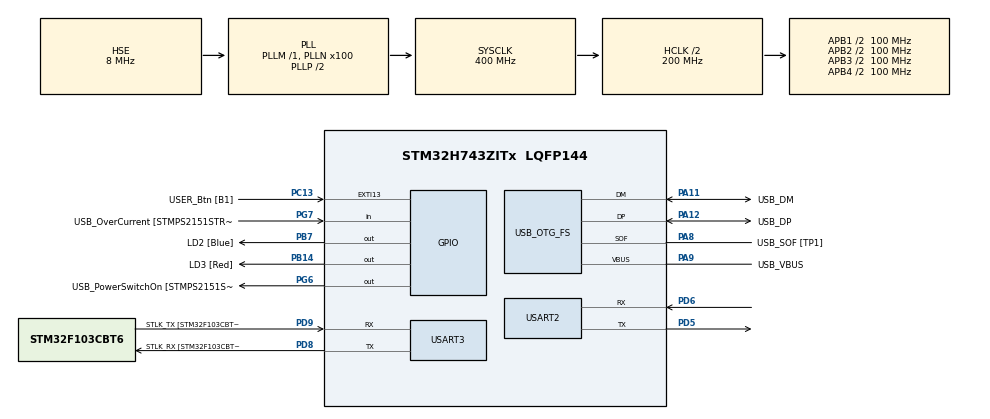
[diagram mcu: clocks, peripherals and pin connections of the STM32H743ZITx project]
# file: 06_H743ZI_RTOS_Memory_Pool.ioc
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FREERTOS.Tasks01=defaultTask,0,128,StartDefaultTask,Default,NULL
Mcu.Family=STM32H7
Mcu.Name=STM32H743ZITx
Mcu.Package=LQFP144
NVIC.OTG_FS_IRQn=true\:5\:0\:false\:false\:true\:true\:false
NVIC.PriorityGroup=NVIC_PRIORITYGROUP_4
NVIC.TIM17_IRQn=true\:0\:0\:false\:false\:true\:false\:false
NVIC.TimeBase=TIM17_IRQn
NVIC.TimeBaseIP=TIM17
NVIC.USART2_IRQn=true\:5\:0\:false\:false\:true\:true\:true
PA11.GPIO_Label=USB_DM
PA11.Mode=Device_Only
PA11.Signal=USB_OTG_FS_DM
PA12.GPIO_Label=USB_DP
PA12.Mode=Device_Only
PA12.Signal=USB_OTG_FS_DP
PA13\ (JTMS/SWDIO).GPIO_Label=TMS
PA13\ (JTMS/SWDIO).Mode=Serial_Wire
PA13\ (JTMS/SWDIO).Signal=SYS_JTMS-SWDIO
PA14\ (JTCK/SWCLK).GPIO_Label=TCK
PA14\ (JTCK/SWCLK).Mode=Serial_Wire
PA14\ (JTCK/SWCLK).Signal=SYS_JTCK-SWCLK
PA8.GPIO_Label=USB_SOF [TP1]
PA8.Mode=Activate_SOF_FS
PA8.Signal=USB_OTG_FS_SOF
PA9.GPIO_Label=USB_VBUS
PA9.Mode=Activate_VBUS
PA9.Signal=USB_OTG_FS_VBUS
PB14.GPIO_Label=LD3 [Red]
PB14.Signal=GPIO_Output
PB3\ (JTDO/TRACESWO).GPIO_Label=SWO
PB3\ (JTDO/TRACESWO).Signal=SYS_JTDO-SWO
PB7.GPIO_Label=LD2 [Blue]
PB7.Signal=GPIO_Output
PC13.GPIO_Label=USER_Btn [B1]
PC13.Signal=GPXTI13
PC14-OSC32_IN\ (OSC32_IN).Mode=LSE-External-Oscillator
PC14-OSC32_IN\ (OSC32_IN).Signal=RCC_OSC32_IN
PC15-OSC32_OUT\ (OSC32_OUT).Mode=LSE-External-Oscillator
PC15-OSC32_OUT\ (OSC32_OUT).Signal=RCC_OSC32_OUT
PD5.Mode=Asynchronous
PD5.Signal=USART2_TX
PD6.Mode=Asynchronous
PD6.Signal=USART2_RX
PD8.GPIO_Label=STLK_RX [STM32F103CBT6_PA3]
PD8.Mode=Asynchronous
PD8.Signal=USART3_TX
PD9.GPIO_Label=STLK_TX [STM32F103CBT6_PA2]
PD9.Mode=Asynchronous
PD9.Signal=USART3_RX
PG6.GPIO_Label=USB_PowerSwitchOn [STMPS2151STR_EN]
PG6.Signal=GPIO_Output
PG7.GPIO_Label=USB_OverCurrent [STMPS2151STR_FAULT]
PG7.Signal=GPIO_Input
PH0-OSC_IN\ (PH0).GPIO_Label=MCO
PH0-OSC_IN\ (PH0).Mode=HSE-External-Clock-Source
PH0-OSC_IN\ (PH0).Signal=RCC_OSC_IN
PH1-OSC_OUT\ (PH1).Mode=HSE-External-Clock-Source
PH1-OSC_OUT\ (PH1).Signal=RCC_OSC_OUT
ProjectManager.HeapSize=0x200
ProjectManager.StackSize=0x400
ProjectManager.TargetToolchain=EWARM V8
RCC.48MHZClocksFreq_Value=24000000
RCC.ADCFreq_Value=16125000
RCC.AHBFreq_Value=216000000
RCC.APB1CLKDivider=RCC_HCLK_DIV4
RCC.APB1Freq_Value=100000000
RCC.APB1TimFreq_Value=108000000
RCC.APB2CLKDivider=RCC_HCLK_DIV2
RCC.APB2Freq_Value=100000000
RCC.APB2TimFreq_Value=216000000
RCC.APB3Freq_Value=100000000
RCC.APB4Freq_Value=100000000
RCC.CortexFreq_Value=400000000
RCC.D1PPRE=RCC_APB3_DIV2
RCC.D2PPRE1=RCC_APB1_DIV2
RCC.D2PPRE2=RCC_APB2_DIV2
RCC.D3PPRE=RCC_APB4_DIV2
RCC.DIVM1=1
RCC.DIVN1=100
RCC.DIVQ1=4
RCC.HCLKFreq_Value=200000000
RCC.HPRE=RCC_HCLK_DIV2
RCC.HSE_VALUE=8000000
RCC.HSI_VALUE=64000000
RCC.PLLM=25
RCC.PLLMUL=RCC_PLL_MUL9
RCC.PLLN=432
RCC.PLLQ=9
RCC.PLLSourceVirtual=RCC_PLLSOURCE_HSE
RCC.PRESCALERUSB=RCC_USBCLKSOURCE_PLL_DIV1_5
RCC.SYSCLKFreq_VALUE=400000000
RCC.SYSCLKSource=RCC_SYSCLKSOURCE_PLLCLK
RCC.SYSCLKSourceVirtual=RCC_SYSCLKSOURCE_PLLCLK
RCC.USBCLockSelection=RCC_USBCLKSOURCE_HSI48
RCC.USBFreq_Value=48000000
RCC.VCOOutputFreq_Value=432000000
USART2.VirtualMode-Asynchronous=VM_ASYNC
USART3.VirtualMode-Asynchronous=VM_ASYNC
USB_DEVICE.APP_RX_DATA_SIZE-CDC_FS=2048
USB_DEVICE.APP_TX_DATA_SIZE-CDC_FS=2048
USB_DEVICE.CLASS_NAME_FS=CDC
USB_DEVICE.VirtualMode-CDC_FS=Cdc
USB_DEVICE.VirtualModeFS=Cdc_FS
USB_OTG_FS.VirtualMode=Device_Only
VP_FREERTOS_VS_ENABLE.Mode=Enabled
VP_SYS_VS_tim17.Mode=TIM17
VP_USB_DEVICE_VS_USB_DEVICE_CDC_FS.Mode=CDC_FS
board=NUCLEO-H743ZI

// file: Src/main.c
/* USER CODE BEGIN Header */
/**
  ******************************************************************************
  * @file           : main.c
  * @brief          : Main program body
  ******************************************************************************
  * This notice applies to any and all portions of this file
  * that are not between comment pairs USER CODE BEGIN and
  * USER CODE END. Other portions of this file, whether
  * inserted by the user or by software development tools
  * are owned by their respective copyright owners.
  *
  * Copyright (c) 2019 STMicroelectronics International N.V.
  * All rights reserved.
  *
  * Redistribution and use in source and binary forms, with or without
  * modification, are permitted, provided that the following conditions are met:
  *
  * 1. Redistribution of source code must retain the above copyright notice,
  *    this list of conditions and the following disclaimer.
  * 2. Redistributions in binary form must reproduce the above copyright notice,
  *    this list of conditions and the following disclaimer in the documentation
  *    and/or other materials provided with the distribution.
  * 3. Neither the name of STMicroelectronics nor the names of other
  *    contributors to this software may be used to endorse or promote products
  *    derived from this software without specific written permission.
  * 4. This software, including modifications and/or derivative works of this
  *    software, must execute solely and exclusively on microcontroller or
  *    microprocessor devices manufactured by or for STMicroelectronics.
  * 5. Redistribution and use of this software other than as permitted under
  *    this license is void and will automatically terminate your rights under
  *    this license.
  *
  * THIS SOFTWARE IS PROVIDED BY STMICROELECTRONICS AND CONTRIBUTORS "AS IS"
  * AND ANY EXPRESS, IMPLIED OR STATUTORY WARRANTIES, INCLUDING, BUT NOT
  * LIMITED TO, THE IMPLIED WARRANTIES OF MERCHANTABILITY, FITNESS FOR A
  * PARTICULAR PURPOSE AND NON-INFRINGEMENT OF THIRD PARTY INTELLECTUAL PROPERTY
  * RIGHTS ARE DISCLAIMED TO THE FULLEST EXTENT PERMITTED BY LAW. IN NO EVENT
  * SHALL STMICROELECTRONICS OR CONTRIBUTORS BE LIABLE FOR ANY DIRECT, INDIRECT,
  * INCIDENTAL, SPECIAL, EXEMPLARY, OR CONSEQUENTIAL DAMAGES (INCLUDING, BUT NOT
  * LIMITED TO, PROCUREMENT OF SUBSTITUTE GOODS OR SERVICES; LOSS OF USE, DATA,
  * OR PROFITS; OR BUSINESS INTERRUPTION) HOWEVER CAUSED AND ON ANY THEORY OF
  * LIABILITY, WHETHER IN CONTRACT, STRICT LIABILITY, OR TORT (INCLUDING
  * NEGLIGENCE OR OTHERWISE) ARISING IN ANY WAY OUT OF THE USE OF THIS SOFTWARE,
  * EVEN IF ADVISED OF THE POSSIBILITY OF SUCH DAMAGE.
  *
  ******************************************************************************
  */
/* USER CODE END Header */

#include "main.h"
#include "cmsis_os.h"
#include "usart.h"
#include "usb_device.h"
#include "gpio.h"

/* USER CODE BEGIN Includes */
#include "hal_uart_printf.h"
/* USER CODE END Includes */

void SystemClock_Config(void);
void MX_FREERTOS_Init(void);

int main(void)
{

  /* MCU Configuration--------------------------------------------------------*/

  /* Reset of all peripherals, Initializes the Flash interface and the Systick. */
  HAL_Init();

  /* Configure the system clock */
  SystemClock_Config();

  /* Initialize all configured peripherals */
  MX_GPIO_Init();
  MX_USART3_UART_Init();
  MX_USART2_UART_Init();
  /* USER CODE BEGIN 2 */
	printf( "Start RTOS Memory Pool Test...\r\n" );
  /* USER CODE END 2 */

  /* Call init function for freertos objects (in freertos.c) */
  MX_FREERTOS_Init();

  /* Start scheduler */
  osKernelStart();

  /* We should never get here as control is now taken by the scheduler */

  /* Infinite loop */
  while (1)
  {

  }
}

void SystemClock_Config(void)
{
  RCC_OscInitTypeDef RCC_OscInitStruct = {0};
  RCC_ClkInitTypeDef RCC_ClkInitStruct = {0};
  RCC_PeriphCLKInitTypeDef PeriphClkInitStruct = {0};

  /**Supply configuration update enable
  */
  MODIFY_REG(PWR->CR3, PWR_CR3_SCUEN, 0);
  /**Configure the main internal regulator output voltage
  */
  __HAL_PWR_VOLTAGESCALING_CONFIG(PWR_REGULATOR_VOLTAGE_SCALE1);

  while ((PWR->D3CR & (PWR_D3CR_VOSRDY)) != PWR_D3CR_VOSRDY)
  {

  }
  /**Initializes the CPU, AHB and APB busses clocks
  */
  RCC_OscInitStruct.OscillatorType = RCC_OSCILLATORTYPE_HSI48|RCC_OSCILLATORTYPE_HSE;
  RCC_OscInitStruct.HSEState = RCC_HSE_BYPASS;
  RCC_OscInitStruct.HSI48State = RCC_HSI48_ON;
  RCC_OscInitStruct.PLL.PLLState = RCC_PLL_ON;
  RCC_OscInitStruct.PLL.PLLSource = RCC_PLLSOURCE_HSE;
  RCC_OscInitStruct.PLL.PLLM = 1;
  RCC_OscInitStruct.PLL.PLLN = 100;
  RCC_OscInitStruct.PLL.PLLP = 2;
  RCC_OscInitStruct.PLL.PLLQ = 4;
  RCC_OscInitStruct.PLL.PLLR = 2;
  RCC_OscInitStruct.PLL.PLLRGE = RCC_PLL1VCIRANGE_3;
  RCC_OscInitStruct.PLL.PLLVCOSEL = RCC_PLL1VCOWIDE;
  RCC_OscInitStruct.PLL.PLLFRACN = 0;
  if (HAL_RCC_OscConfig(&RCC_OscInitStruct) != HAL_OK)
  {
    Error_Handler();
  }
  /**Initializes the CPU, AHB and APB busses clocks
  */
  RCC_ClkInitStruct.ClockType = RCC_CLOCKTYPE_HCLK|RCC_CLOCKTYPE_SYSCLK
                              |RCC_CLOCKTYPE_PCLK1|RCC_CLOCKTYPE_PCLK2
                              |RCC_CLOCKTYPE_D3PCLK1|RCC_CLOCKTYPE_D1PCLK1;
  RCC_ClkInitStruct.SYSCLKSource = RCC_SYSCLKSOURCE_PLLCLK;
  RCC_ClkInitStruct.SYSCLKDivider = RCC_SYSCLK_DIV1;
  RCC_ClkInitStruct.AHBCLKDivider = RCC_HCLK_DIV2;
  RCC_ClkInitStruct.APB3CLKDivider = RCC_APB3_DIV2;
  RCC_ClkInitStruct.APB1CLKDivider = RCC_APB1_DIV2;
  RCC_ClkInitStruct.APB2CLKDivider = RCC_APB2_DIV2;
  RCC_ClkInitStruct.APB4CLKDivider = RCC_APB4_DIV2;

  if (HAL_RCC_ClockConfig(&RCC_ClkInitStruct, FLASH_LATENCY_2) != HAL_OK)
  {
    Error_Handler();
  }
  PeriphClkInitStruct.PeriphClockSelection = RCC_PERIPHCLK_USART3|RCC_PERIPHCLK_USART2
                              |RCC_PERIPHCLK_USB;
  PeriphClkInitStruct.Usart234578ClockSelection = RCC_USART234578CLKSOURCE_D2PCLK1;
  PeriphClkInitStruct.UsbClockSelection = RCC_USBCLKSOURCE_HSI48;
  if (HAL_RCCEx_PeriphCLKConfig(&PeriphClkInitStruct) != HAL_OK)
  {
    Error_Handler();
  }
}

void HAL_TIM_PeriodElapsedCallback(TIM_HandleTypeDef *htim)
{
  if (htim->Instance == TIM17) {
    HAL_IncTick();
  }
}

void Error_Handler(void)
{
}

/************************ (C) COPYRIGHT STMicroelectronics *****END OF FILE****/

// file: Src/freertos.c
/* USER CODE BEGIN Header */
/**
  ******************************************************************************
  * File Name          : freertos.c
  * Description        : Code for freertos applications
  ******************************************************************************
  * This notice applies to any and all portions of this file
  * that are not between comment pairs USER CODE BEGIN and
  * USER CODE END. Other portions of this file, whether
  * inserted by the user or by software development tools
  * are owned by their respective copyright owners.
  *
  * Copyright (c) 2019 STMicroelectronics International N.V.
  * All rights reserved.
  *
  * Redistribution and use in source and binary forms, with or without
  * modification, are permitted, provided that the following conditions are met:
  *
  * 1. Redistribution of source code must retain the above copyright notice,
  *    this list of conditions and the following disclaimer.
  * 2. Redistributions in binary form must reproduce the above copyright notice,
  *    this list of conditions and the following disclaimer in the documentation
  *    and/or other materials provided with the distribution.
  * 3. Neither the name of STMicroelectronics nor the names of other
  *    contributors to this software may be used to endorse or promote products
  *    derived from this software without specific written permission.
  * 4. This software, including modifications and/or derivative works of this
  *    software, must execute solely and exclusively on microcontroller or
  *    microprocessor devices manufactured by or for STMicroelectronics.
  * 5. Redistribution and use of this software other than as permitted under
  *    this license is void and will automatically terminate your rights under
  *    this license.
  *
  * THIS SOFTWARE IS PROVIDED BY STMICROELECTRONICS AND CONTRIBUTORS "AS IS"
  * AND ANY EXPRESS, IMPLIED OR STATUTORY WARRANTIES, INCLUDING, BUT NOT
  * LIMITED TO, THE IMPLIED WARRANTIES OF MERCHANTABILITY, FITNESS FOR A
  * PARTICULAR PURPOSE AND NON-INFRINGEMENT OF THIRD PARTY INTELLECTUAL PROPERTY
  * RIGHTS ARE DISCLAIMED TO THE FULLEST EXTENT PERMITTED BY LAW. IN NO EVENT
  * SHALL STMICROELECTRONICS OR CONTRIBUTORS BE LIABLE FOR ANY DIRECT, INDIRECT,
  * INCIDENTAL, SPECIAL, EXEMPLARY, OR CONSEQUENTIAL DAMAGES (INCLUDING, BUT NOT
  * LIMITED TO, PROCUREMENT OF SUBSTITUTE GOODS OR SERVICES; LOSS OF USE, DATA,
  * OR PROFITS; OR BUSINESS INTERRUPTION) HOWEVER CAUSED AND ON ANY THEORY OF
  * LIABILITY, WHETHER IN CONTRACT, STRICT LIABILITY, OR TORT (INCLUDING
  * NEGLIGENCE OR OTHERWISE) ARISING IN ANY WAY OUT OF THE USE OF THIS SOFTWARE,
  * EVEN IF ADVISED OF THE POSSIBILITY OF SUCH DAMAGE.
  *
  ******************************************************************************
  */
/* USER CODE END Header */

#include "FreeRTOS.h"
#include "task.h"
#include "main.h"
#include "cmsis_os.h"

/* USER CODE BEGIN Includes */
#include "hal_uart_printf.h"
/* USER CODE END Includes */

/* USER CODE BEGIN Variables */
osThreadId	poolTaskHandle1;
osThreadId	poolTaskHandle2;

typedef struct
{
	uint32_t	length;
	uint32_t	width;
	uint32_t	height;
	uint32_t	weight;
} properties_t;

properties_t	*properties;
osPoolId		poolHandle;
/* USER CODE END Variables */
osThreadId defaultTaskHandle;

/* USER CODE BEGIN FunctionPrototypes */
void PoolTask1( void const * argument );
void PoolTask2( void const * argument );
/* USER CODE END FunctionPrototypes */

void StartDefaultTask(void const * argument);

extern void MX_USB_DEVICE_Init(void);
void MX_FREERTOS_Init(void); /* (MISRA C 2004 rule 8.1) */

void MX_FREERTOS_Init(void) {
  /* USER CODE BEGIN Init */
	osPoolDef( myMemoryPool, 10, properties_t );
	poolHandle = osPoolCreate( osPool(myMemoryPool) );
	if( poolHandle != NULL )
	{
		properties	= (properties_t *)osPoolAlloc( poolHandle );
	}
  /* USER CODE END Init */

  /* Create the thread(s) */
  /* definition and creation of defaultTask */
  osThreadDef(defaultTask, StartDefaultTask, osPriorityNormal, 0, 128);
  defaultTaskHandle = osThreadCreate(osThread(defaultTask), NULL);

  /* USER CODE BEGIN RTOS_THREADS */
  /* add threads, ... */
  osThreadDef( task1, PoolTask1, osPriorityNormal, 0, 128 );
  poolTaskHandle1	= osThreadCreate( osThread( task1 ), (void *)properties );

  osThreadDef( task2, PoolTask2, osPriorityNormal, 0, 128 );
  poolTaskHandle2	= osThreadCreate( osThread( task2 ), (void *)properties );
  /* USER CODE END RTOS_THREADS */

}

void StartDefaultTask(void const * argument)
{
  /* init code for USB_DEVICE */
  MX_USB_DEVICE_Init();

  for(;;)
  {
    osDelay(1);
  }
}

/* USER CODE BEGIN Application */
void PoolTask1( void const * argument )
{
	properties_t	*arg_properties	= (properties_t *)argument;

	arg_properties[0].height	= 0;
	arg_properties[0].length	= 10;
	arg_properties[0].weight	= 100;
	arg_properties[0].width		= 1000;

	for(;;)
	{
		arg_properties[0].height++;
		arg_properties[0].length++;
		arg_properties[0].weight++;
		arg_properties[0].width++;

		printf( "PoolTask1 Reading : (%d, %d, %d, %d) \r\n",
				arg_properties[0].height,
				arg_properties[0].length,
				arg_properties[0].weight,
				arg_properties[0].width );

		osDelay( 500 );
	}
}

void PoolTask2( void const * argument )
{
	properties_t	*arg_properties	= (properties_t *)argument;

	for(;;)
	{
		arg_properties[0].height++;
		arg_properties[0].length++;
		arg_properties[0].weight++;
		arg_properties[0].width++;

		printf( "PoolTask2 Reading : (%d, %d, %d, %d) \r\n",
				arg_properties[0].height,
				arg_properties[0].length,
				arg_properties[0].weight,
				arg_properties[0].width );

		osDelay( 800 );
	}
}
/* USER CODE END Application */

/************************ (C) COPYRIGHT STMicroelectronics *****END OF FILE****/
